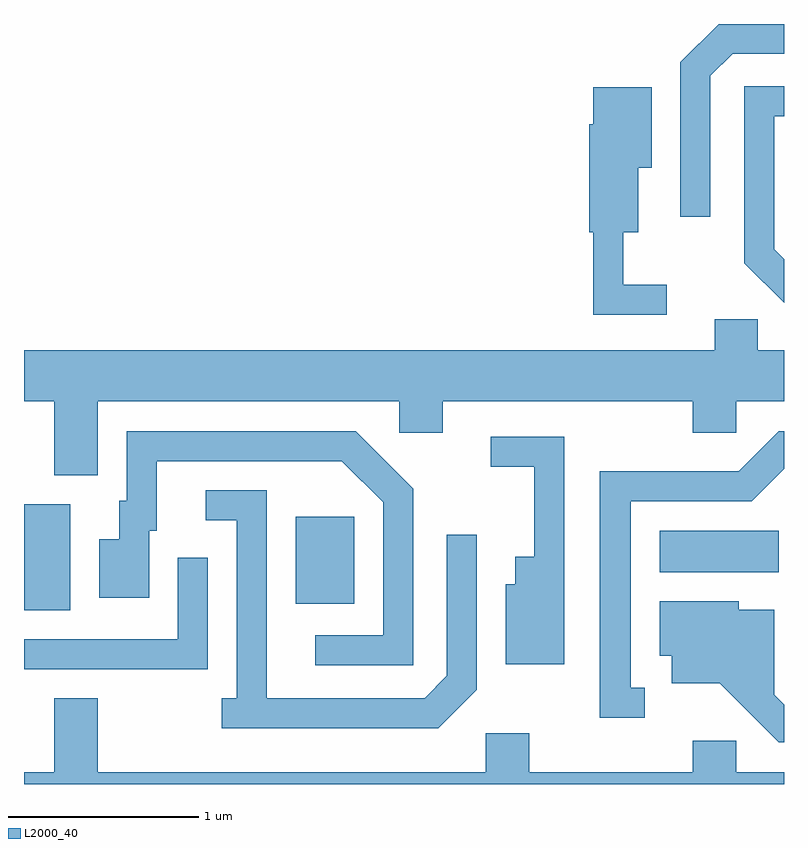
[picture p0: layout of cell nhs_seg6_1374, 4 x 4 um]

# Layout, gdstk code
import gdstk
lib = gdstk.Library(unit=1e-6, precision=1e-09)
def R(c, l, rs):  # rectangles x0, y0, x1, y1
    for r in rs: c.add(gdstk.rectangle(r[:2], r[2:], *l))
def P(c, l, *ps):  # polygons
    for p in ps: c.add(gdstk.Polygon(p, *l))
L2000_40 = (2000, 40)

nhs_seg6_1374 = lib.new_cell('nhs_seg6_1374')
R(nhs_seg6_1374, L2000_40, [(225.611,1631.076,225.854,1631.634), (227.041,1631.111,227.349,1631.569), (228.956,1631.276,229.584,1631.494)])
P(nhs_seg6_1374, L2000_40, [(229.224,1633.889),(229.342,1634.006),(229.611,1634.006),(229.611,1634.162),(229.267,1634.162),(229.066,1633.962),(229.066,1633.148),(229.224,1633.148)],
  [(229.611,1632.925),(229.559,1632.977),(229.559,1633.676),(229.611,1633.676),(229.611,1633.834),(229.401,1633.834),(229.401,1632.904),(229.611,1632.694)],
  [(228.993,1632.789),(228.764,1632.789),(228.764,1633.066),(228.844,1633.066),(228.844,1633.406),(228.914,1633.406),(228.914,1633.829),(228.606,1633.829),(228.606,1633.634),(228.586,1633.634),(228.586,1633.066),(228.606,1633.066),(228.606,1632.631),(228.993,1632.631)],
  [(229.359,1632.176),(229.611,1632.176),(229.611,1632.444),(229.474,1632.444),(229.474,1632.609),(229.246,1632.609),(229.246,1632.444),(225.611,1632.444),(225.611,1632.176),(225.771,1632.176),(225.771,1631.786),(225.999,1631.786),(225.999,1632.176),(227.586,1632.176),(227.586,1632.011),(227.814,1632.011),(227.814,1632.176),(229.131,1632.176),(229.131,1632.011),(229.359,1632.011)],
  [(228.878,1630.669),(228.804,1630.669),(228.804,1631.651),(229.442,1631.651),(229.611,1631.82),(229.611,1632.019),(229.584,1632.019),(229.577,1632.013),(229.374,1631.809),(228.641,1631.809),(228.641,1630.511),(228.878,1630.511)],
  [(227.659,1631.717),(227.357,1632.019),(226.151,1632.019),(226.151,1631.654),(226.111,1631.654),(226.111,1631.449),(226.006,1631.449),(226.006,1631.141),(226.269,1631.141),(226.269,1631.496),(226.309,1631.496),(226.309,1631.861),(227.284,1631.861),(227.501,1631.644),(227.501,1630.944),(227.143,1630.944),(227.143,1630.786),(227.659,1630.786)],
  [(228.454,1631.989),(228.068,1631.989),(228.068,1631.831),(228.296,1631.831),(228.296,1631.359),(228.196,1631.359),(228.196,1631.214),(228.146,1631.214),(228.146,1630.791),(228.454,1630.791)],
  [(227.994,1630.659),(227.994,1631.473),(227.836,1631.473),(227.836,1630.732),(227.719,1630.614),(226.889,1630.614),(226.889,1631.709),(226.568,1631.709),(226.568,1631.551),(226.731,1631.551),(226.731,1630.614),(226.653,1630.614),(226.653,1630.456),(227.792,1630.456)],
  [(226.579,1631.353),(226.421,1631.353),(226.421,1630.924),(225.611,1630.924),(225.611,1630.766),(226.579,1630.766)],
  [(229.611,1630.58),(229.559,1630.632),(229.559,1631.079),(229.374,1631.079),(229.374,1631.124),(228.956,1631.124),(228.956,1630.836),(229.021,1630.836),(229.021,1630.691),(229.274,1630.691),(229.584,1630.381),(229.611,1630.381)],
  [(229.611,1630.224),(229.359,1630.224),(229.359,1630.389),(229.131,1630.389),(229.131,1630.224),(228.269,1630.224),(228.269,1630.429),(228.041,1630.429),(228.041,1630.224),(225.999,1630.224),(225.999,1630.614),(225.771,1630.614),(225.771,1630.224),(225.611,1630.224),(225.611,1630.162),(229.611,1630.162)])

lib.write_gds('nhs_seg6_1374.gds')
